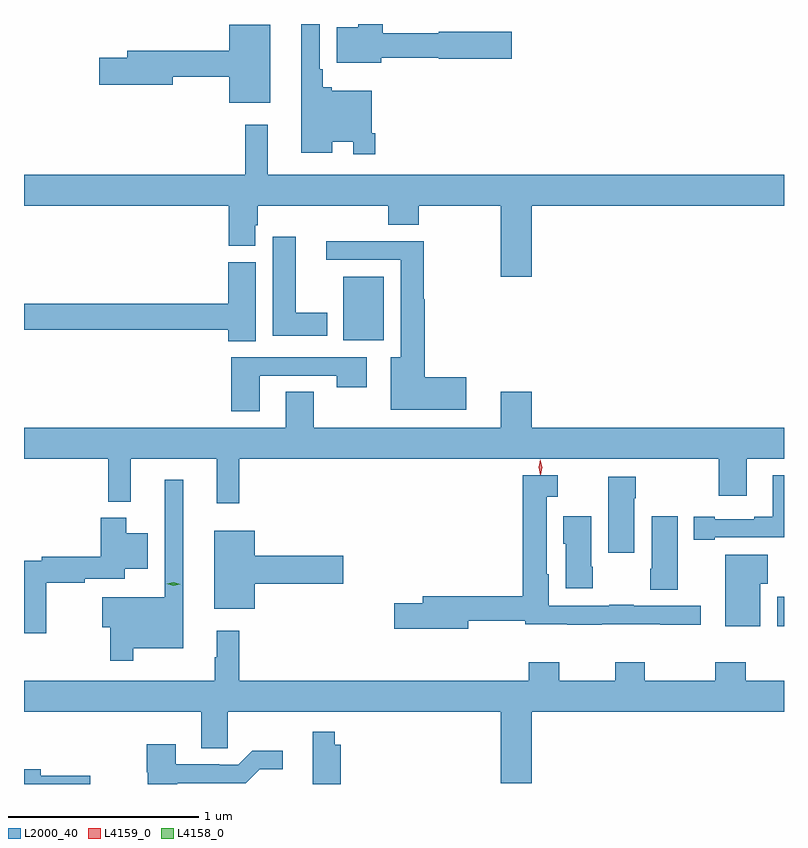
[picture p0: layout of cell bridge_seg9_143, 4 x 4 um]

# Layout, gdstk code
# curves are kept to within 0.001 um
import gdstk
lib = gdstk.Library(unit=1e-6, precision=1e-09)
def R(c, l, rs):  # rectangles x0, y0, x1, y1
    for r in rs: c.add(gdstk.rectangle(r[:2], r[2:], *l))
def P(c, l, *ps):  # polygons
    for p in ps: c.add(gdstk.Polygon(p, *l))
L2000_40 = (2000, 40)
L4158_0 = (4158, 0)
L4159_0 = (4159, 0)

bridge_seg9_143 = lib.new_cell('bridge_seg9_143')
R(bridge_seg9_143, L2000_40, [(586.043,1207.527,586.079,1207.683), (583.76,1209.032,583.972,1209.367)])
P(bridge_seg9_143, L2000_40, [(583.96,1210.519),(584.262,1210.519),(584.262,1210.514),(584.647,1210.514),(584.647,1210.656),(584.262,1210.656),(584.262,1210.648),(583.968,1210.648),(583.968,1210.697),(583.838,1210.697),(583.838,1210.681),(583.725,1210.681),(583.725,1210.494),(583.96,1210.494)],
  [(583.928,1210.123),(583.908,1210.123),(583.908,1210.345),(583.698,1210.345),(583.698,1210.363),(583.652,1210.363),(583.652,1210.459),(583.635,1210.459),(583.635,1210.697),(583.538,1210.697),(583.538,1210.019),(583.702,1210.019),(583.702,1210.076),(583.812,1210.076),(583.812,1210.011),(583.928,1210.011)],
  [(583.375,1210.693),(583.16,1210.693),(583.16,1210.556),(582.623,1210.556),(582.623,1210.52),(582.474,1210.52),(582.474,1210.378),(582.862,1210.378),(582.862,1210.42),(583.16,1210.42),(583.16,1210.283),(583.375,1210.283)],
  [(584.752,1209.74),(586.079,1209.74),(586.079,1209.904),(583.361,1209.904),(583.361,1210.168),(583.243,1210.168),(583.243,1209.904),(582.079,1209.904),(582.079,1209.74),(583.157,1209.74),(583.157,1209.529),(583.297,1209.529),(583.297,1209.639),(583.31,1209.639),(583.31,1209.74),(583.997,1209.74),(583.997,1209.641),(584.157,1209.641),(584.157,1209.74),(584.588,1209.74),(584.588,1209.366),(584.752,1209.366)],
  [(583.675,1209.178),(583.51,1209.178),(583.51,1209.577),(583.388,1209.577),(583.388,1209.056),(583.675,1209.056)],
  [(584.407,1208.837),(584.189,1208.837),(584.189,1209.249),(584.184,1209.249),(584.184,1209.554),(583.671,1209.554),(583.671,1209.456),(584.063,1209.456),(584.063,1208.944),(584.009,1208.944),(584.009,1208.666),(584.407,1208.666)],
  [(583.3,1209.444),(583.154,1209.444),(583.154,1209.224),(582.079,1209.224),(582.079,1209.088),(583.154,1209.088),(583.154,1209.028),(583.3,1209.028)],
  [(583.321,1208.847),(583.726,1208.847),(583.726,1208.784),(583.882,1208.784),(583.882,1208.943),(583.169,1208.943),(583.169,1208.658),(583.321,1208.658)],
  [(583.211,1208.408),(585.736,1208.408),(585.736,1208.214),(585.883,1208.214),(585.883,1208.408),(586.079,1208.408),(586.079,1208.572),(584.752,1208.572),(584.752,1208.761),(584.588,1208.761),(584.588,1208.572),(583.605,1208.572),(583.605,1208.762),(583.457,1208.762),(583.457,1208.572),(582.079,1208.572),(582.079,1208.408),(582.523,1208.408),(582.523,1208.183),(582.641,1208.183),(582.641,1208.408),(583.094,1208.408),(583.094,1208.175),(583.211,1208.175)],
  [(585.715,1207.995),(586.079,1207.995),(586.079,1208.323),(586.019,1208.323),(586.019,1208.104),(585.923,1208.104),(585.923,1208.091),(585.715,1208.091),(585.715,1208.104),(585.605,1208.104),(585.605,1207.983),(585.715,1207.983)],
  [(584.416,1207.557),(584.717,1207.557),(584.717,1207.538),(584.938,1207.538),(584.938,1207.534),(585.121,1207.534),(585.121,1207.538),(585.427,1207.538),(585.427,1207.534),(585.64,1207.534),(585.64,1207.635),(585.287,1207.635),(585.287,1207.64),(585.16,1207.64),(585.16,1207.635),(584.842,1207.635),(584.842,1207.8),(584.83,1207.8),(584.83,1208.21),(584.887,1208.21),(584.887,1208.323),(584.705,1208.323),(584.705,1207.685),(584.177,1207.685),(584.177,1207.649),(584.028,1207.649),(584.028,1207.514),(584.416,1207.514)],
  [(585.292,1208.201),(585.3,1208.201),(585.3,1208.314),(585.155,1208.314),(585.155,1207.914),(585.292,1207.914)],
  [(582.655,1207.412),(582.916,1207.412),(582.916,1208.299),(582.819,1208.299),(582.819,1207.681),(582.492,1207.681),(582.492,1207.523),(582.534,1207.523),(582.534,1207.347),(582.655,1207.347)],
  [(585.072,1207.84),(585.064,1207.84),(585.064,1208.107),(584.918,1208.107),(584.918,1207.962),(584.93,1207.962),(584.93,1207.728),(585.072,1207.728)],
  [(585.52,1208.107),(585.383,1208.107),(585.383,1207.831),(585.376,1207.831),(585.376,1207.72),(585.52,1207.72)],
  [(582.196,1207.756),(582.398,1207.756),(582.398,1207.776),(582.61,1207.776),(582.61,1207.829),(582.73,1207.829),(582.73,1208.017),(582.616,1208.017),(582.616,1208.098),(582.482,1208.098),(582.482,1207.892),(582.172,1207.892),(582.172,1207.872),(582.079,1207.872),(582.079,1207.491),(582.196,1207.491)],
  [(583.294,1207.751),(583.759,1207.751),(583.759,1207.898),(583.294,1207.898),(583.294,1208.029),(583.079,1208.029),(583.079,1207.619),(583.294,1207.619)],
  [(585.955,1207.751),(585.994,1207.751),(585.994,1207.903),(585.77,1207.903),(585.77,1207.526),(585.955,1207.526)],
  [(585.718,1207.339),(585.718,1207.24),(585.345,1207.24),(585.345,1207.339),(585.19,1207.339),(585.19,1207.24),(584.895,1207.24),(584.895,1207.339),(584.735,1207.339),(584.735,1207.24),(583.211,1207.24),(583.211,1207.504),(583.094,1207.504),(583.094,1207.364),(583.083,1207.364),(583.083,1207.24),(582.079,1207.24),(582.079,1207.076),(583.013,1207.076),(583.013,1206.886),(583.152,1206.886),(583.152,1207.076),(584.588,1207.076),(584.588,1206.702),(584.752,1206.702),(584.752,1207.076),(586.079,1207.076),(586.079,1207.24),(585.878,1207.24),(585.878,1207.339)],
  [(583.745,1206.904),(583.715,1206.904),(583.715,1206.973),(583.599,1206.973),(583.599,1206.697),(583.745,1206.697)],
  [(582.885,1206.702),(583.247,1206.701),(583.32,1206.774),(583.441,1206.774),(583.441,1206.871),(583.279,1206.871),(583.206,1206.798),(583.106,1206.798),(583.106,1206.801),(582.877,1206.801),(582.877,1206.907),(582.725,1206.907),(582.725,1206.759),(582.73,1206.759),(582.73,1206.697),(582.885,1206.697)],
  [(582.427,1206.741),(582.166,1206.741),(582.166,1206.775),(582.079,1206.775),(582.079,1206.697),(582.427,1206.697)])
P(bridge_seg9_143, L4158_0, [(582.865,1207.74),(582.83,1207.751),(582.83,1207.752),(582.83,1207.752),(582.866,1207.76),(582.901,1207.748),(582.901,1207.748),(582.901,1207.748)])
P(bridge_seg9_143, L4159_0, [(584.797,1208.324),(584.797,1208.324),(584.787,1208.364),(584.796,1208.404),(584.796,1208.404),(584.796,1208.404),(584.807,1208.364),(584.798,1208.324)])

lib.write_gds('bridge_seg9_143.gds')
